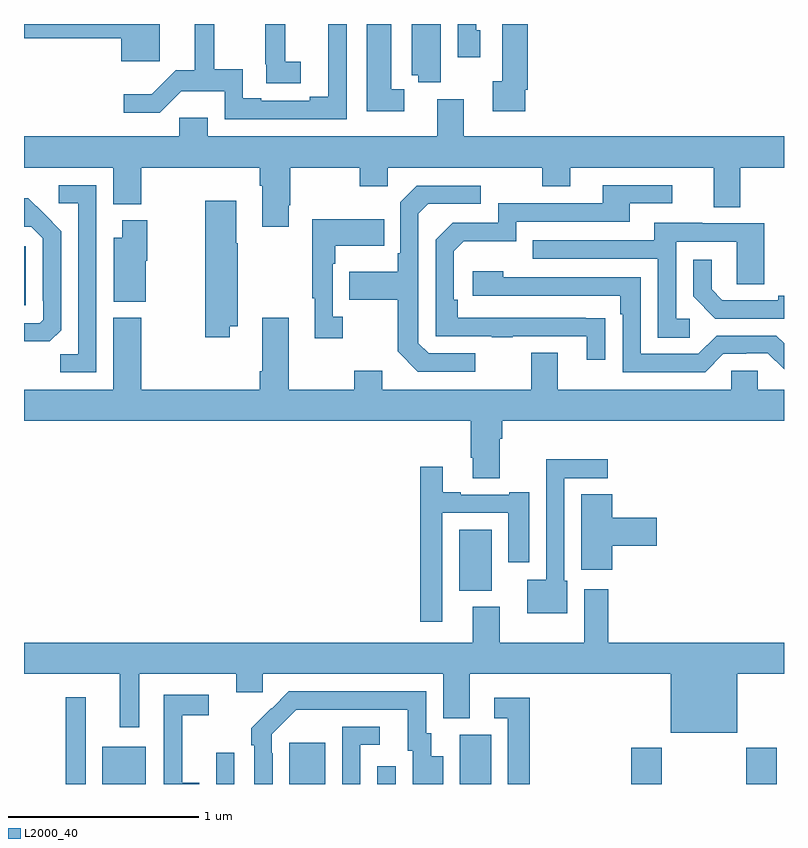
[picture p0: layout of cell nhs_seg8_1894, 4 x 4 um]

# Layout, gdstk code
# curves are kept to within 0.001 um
import gdstk
lib = gdstk.Library(unit=1e-6, precision=1e-09)
def R(c, l, rs):  # rectangles x0, y0, x1, y1
    for r in rs: c.add(gdstk.rectangle(r[:2], r[2:], *l))
def P(c, l, *ps):  # polygons
    for p in ps: c.add(gdstk.Polygon(p, *l))
L2000_40 = (2000, 40)

nhs_seg8_1894 = lib.new_cell('nhs_seg8_1894')
R(nhs_seg8_1894, L2000_40, [(231.221,1135.9,231.325,1136.356), (231.413,1135.9,231.64,1136.095), (232.011,1135.9,232.107,1136.065), (232.397,1135.9,232.585,1136.116), (232.86,1135.9,232.956,1135.993), (233.294,1135.9,233.458,1136.16), (234.197,1135.9,234.357,1136.092), (234.802,1135.9,234.962,1136.092), (233.291,1136.918,233.461,1137.238), (231,1138.419,231.009,1138.729)])
P(nhs_seg8_1894, L2000_40, [(233.194,1139.9),(233.042,1139.9),(233.042,1139.63),(233.074,1139.63),(233.074,1139.593),(233.194,1139.593)],
  [(233.002,1139.556),(232.933,1139.556),(232.933,1139.9),(232.805,1139.9),(232.805,1139.441),(233.002,1139.441)],
  [(233.4,1139.868),(233.379,1139.868),(233.379,1139.9),(233.283,1139.9),(233.283,1139.724),(233.4,1139.724)],
  [(232.456,1139.702),(232.374,1139.702),(232.374,1139.9),(232.27,1139.9),(232.27,1139.689),(232.276,1139.689),(232.276,1139.587),(232.456,1139.587)],
  [(233.638,1139.554),(233.651,1139.554),(233.651,1139.9),(233.516,1139.9),(233.516,1139.598),(233.466,1139.598),(233.466,1139.442),(233.638,1139.442)],
  [(231.715,1139.9),(231,1139.9),(231,1139.824),(231.512,1139.824),(231.512,1139.703),(231.715,1139.703)],
  [(232.698,1139.9),(232.6,1139.9),(232.601,1139.516),(232.505,1139.516),(232.505,1139.496),(232.249,1139.496),(232.249,1139.51),(232.152,1139.51),(232.152,1139.663),(232.001,1139.663),(232.001,1139.9),(231.899,1139.9),(231.899,1139.656),(231.799,1139.656),(231.673,1139.53),(231.525,1139.53),(231.525,1139.433),(231.714,1139.433),(231.827,1139.546),(232.056,1139.546),(232.056,1139.4),(232.698,1139.4)],
  [(232.393,1138.945),(232.401,1138.945),(232.401,1139.144),(232.768,1139.144),(232.768,1139.045),(232.914,1139.045),(232.914,1139.144),(233.728,1139.144),(233.728,1139.045),(233.875,1139.045),(233.875,1139.144),(234.629,1139.144),(234.629,1138.936),(234.769,1138.936),(234.769,1139.144),(235,1139.144),(235,1139.308),(233.314,1139.308),(233.314,1139.503),(233.174,1139.503),(233.174,1139.308),(231.967,1139.308),(231.967,1139.406),(231.816,1139.406),(231.816,1139.308),(231,1139.308),(231,1139.144),(231.47,1139.144),(231.47,1138.952),(231.618,1138.952),(231.618,1139.144),(232.241,1139.144),(232.241,1139.048),(232.253,1139.048),(232.253,1138.833),(232.393,1138.833)],
  [(234.059,1138.352),(233.282,1138.353),(233.282,1138.45),(233.262,1138.45),(233.262,1138.704),(233.315,1138.757),(233.592,1138.757),(233.592,1138.86),(234.187,1138.86),(234.187,1138.956),(234.412,1138.956),(234.412,1139.052),(234.047,1139.052),(234.047,1138.956),(233.496,1138.956),(233.496,1138.854),(233.256,1138.854),(233.166,1138.764),(233.166,1138.257),(233.461,1138.257),(233.461,1138.252),(233.573,1138.252),(233.573,1138.257),(233.963,1138.257),(233.963,1138.134),(234.059,1138.134)],
  [(231.381,1139.052),(231.183,1139.052),(231.183,1138.956),(231.285,1138.956),(231.285,1138.163),(231.19,1138.163),(231.19,1138.068),(231.381,1138.068)],
  [(233.374,1138.167),(233.13,1138.167),(233.076,1138.221),(233.076,1138.902),(233.127,1138.953),(233.404,1138.953),(233.404,1139.049),(233.067,1139.049),(232.98,1138.962),(232.98,1138.693),(232.968,1138.693),(232.968,1138.597),(232.711,1138.597),(232.711,1138.45),(232.968,1138.45),(232.968,1138.177),(233.073,1138.071),(233.374,1138.071)],
  [(231.195,1138.288),(231.195,1138.81),(231.023,1138.984),(231,1138.984),(231,1138.833),(231.039,1138.833),(231.099,1138.773),(231.099,1138.444),(231.102,1138.444),(231.102,1138.344),(231.084,1138.326),(231,1138.326),(231,1138.229),(231.136,1138.229)],
  [(232.084,1138.31),(232.125,1138.31),(232.125,1138.745),(232.117,1138.745),(232.117,1138.969),(231.955,1138.969),(231.955,1138.251),(232.084,1138.251)],
  [(232.678,1138.358),(232.626,1138.358),(232.626,1138.637),(232.639,1138.637),(232.639,1138.733),(232.895,1138.733),(232.895,1138.873),(232.518,1138.873),(232.518,1138.457),(232.529,1138.457),(232.529,1138.245),(232.678,1138.245)],
  [(231.64,1138.653),(231.648,1138.653),(231.648,1138.867),(231.518,1138.867),(231.518,1138.774),(231.473,1138.774),(231.473,1138.439),(231.64,1138.439)],
  [(234.505,1138.35),(234.432,1138.35),(234.432,1138.755),(234.75,1138.755),(234.75,1138.531),(234.895,1138.531),(234.895,1138.851),(234.571,1138.851),(234.571,1138.855),(234.317,1138.855),(234.317,1138.761),(233.677,1138.761),(233.677,1138.665),(234.336,1138.665),(234.336,1138.249),(234.505,1138.249)],
  [(235,1138.469),(234.971,1138.469),(234.971,1138.446),(234.676,1138.446),(234.619,1138.503),(234.619,1138.66),(234.522,1138.66),(234.522,1138.466),(234.638,1138.35),(235,1138.35)],
  [(234.681,1138.164),(234.8,1138.164),(234.8,1138.167),(234.915,1138.167),(235,1138.082),(235,1138.22),(234.96,1138.26),(234.645,1138.26),(234.549,1138.164),(234.246,1138.164),(234.246,1138.566),(233.522,1138.566),(233.522,1138.6),(233.361,1138.6),(233.361,1138.47),(234.137,1138.47),(234.137,1138.373),(234.15,1138.373),(234.15,1138.068),(234.585,1138.068)],
  [(233.503,1137.716),(233.516,1137.716),(233.516,1137.812),(235,1137.812),(235,1137.976),(234.861,1137.976),(234.861,1138.074),(234.723,1138.074),(234.723,1137.976),(233.809,1137.976),(233.809,1138.171),(233.669,1138.171),(233.669,1137.976),(232.885,1137.976),(232.885,1138.075),(232.738,1138.075),(232.738,1137.976),(232.393,1137.976),(232.393,1138.354),(232.253,1138.354),(232.253,1138.072),(232.241,1138.072),(232.241,1137.976),(231.618,1137.976),(231.618,1138.354),(231.47,1138.354),(231.47,1137.976),(231,1137.976),(231,1137.812),(233.351,1137.812),(233.351,1137.616),(233.363,1137.616),(233.363,1137.508),(233.503,1137.508)],
  [(233.86,1136.97),(233.844,1136.97),(233.844,1137.51),(234.073,1137.51),(234.073,1137.608),(233.748,1137.608),(233.748,1136.974),(233.648,1136.974),(233.648,1136.798),(233.86,1136.798)],
  [(233.202,1137.327),(233.549,1137.327),(233.549,1137.066),(233.659,1137.066),(233.659,1137.436),(233.555,1137.436),(233.555,1137.423),(233.299,1137.423),(233.299,1137.436),(233.203,1137.436),(233.203,1137.571),(233.086,1137.571),(233.086,1136.754),(233.202,1136.754)],
  [(234.095,1137.155),(234.331,1137.155),(234.331,1137.302),(234.095,1137.302),(234.095,1137.425),(233.933,1137.425),(233.933,1137.027),(234.095,1137.027)],
  [(234.754,1136.48),(235,1136.48),(235,1136.644),(234.074,1136.644),(234.074,1136.926),(233.948,1136.926),(233.948,1136.644),(233.503,1136.644),(233.503,1136.833),(233.363,1136.833),(233.363,1136.644),(231,1136.644),(231,1136.48),(231.503,1136.48),(231.503,1136.199),(231.607,1136.199),(231.607,1136.48),(232.118,1136.48),(232.118,1136.382),(232.257,1136.382),(232.257,1136.48),(233.207,1136.48),(233.207,1136.245),(233.347,1136.245),(233.347,1136.48),(234.404,1136.48),(234.404,1136.171),(234.754,1136.171)],
  [(232.308,1136.063),(232.305,1136.063),(232.305,1136.163),(232.434,1136.292),(233.021,1136.292),(233.021,1136.076),(233.045,1136.076),(233.045,1135.9),(233.206,1135.9),(233.206,1136.047),(233.143,1136.047),(233.143,1136.166),(233.118,1136.166),(233.118,1136.388),(232.394,1136.388),(232.197,1136.193),(232.197,1136.105),(232.212,1136.105),(232.212,1135.9),(232.308,1135.9)],
  [(231.922,1135.906),(231.833,1135.906),(231.833,1136.262),(231.973,1136.262),(231.973,1136.37),(231.735,1136.37),(231.735,1135.9),(231.922,1135.9)],
  [(233.663,1136.353),(233.475,1136.353),(233.475,1136.247),(233.547,1136.247),(233.547,1135.9),(233.663,1135.9)],
  [(232.77,1136.106),(232.873,1136.106),(232.873,1136.202),(232.674,1136.202),(232.674,1135.9),(232.77,1135.9)])

lib.write_gds('nhs_seg8_1894.gds')
